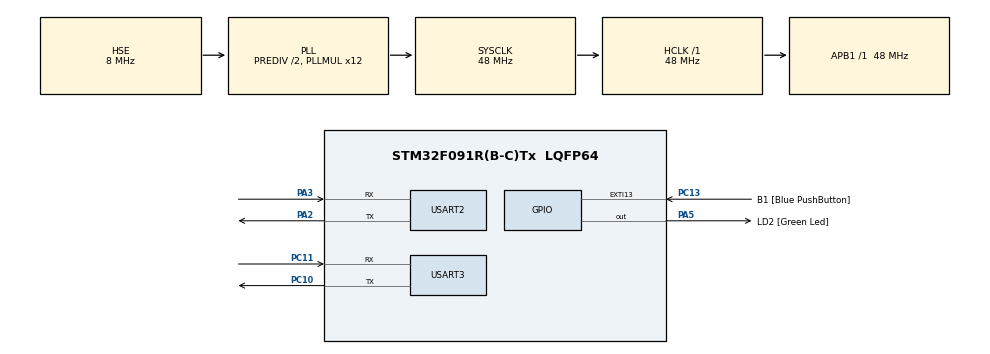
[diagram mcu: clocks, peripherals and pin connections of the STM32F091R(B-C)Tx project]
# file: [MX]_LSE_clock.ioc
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Mcu.Family=STM32F0
Mcu.Name=STM32F091R(B-C)Tx
Mcu.Package=LQFP64
NVIC.USART3_8_IRQn=true\:0\:0\:false\:false\:true\:true\:true\:true
PA13.GPIO_Label=TMS
PA13.Mode=Serial_Wire
PA13.Signal=SYS_SWDIO
PA14.GPIO_Label=TCK
PA14.Mode=Serial_Wire
PA14.Signal=SYS_SWCLK
PA2.GPIO_Mode=GPIO_MODE_AF_PP
PA2.GPIO_ModeDefaultPP=GPIO_MODE_AF_PP
PA2.GPIO_PuPd=GPIO_NOPULL
PA2.GPIO_Speed=GPIO_SPEED_FREQ_HIGH
PA2.Mode=Asynchronous
PA2.Signal=USART2_TX
PA3.GPIO_Mode=GPIO_MODE_AF_PP
PA3.GPIO_ModeDefaultPP=GPIO_MODE_AF_PP
PA3.GPIO_PuPd=GPIO_NOPULL
PA3.GPIO_Speed=GPIO_SPEED_FREQ_HIGH
PA3.Mode=Asynchronous
PA3.Signal=USART2_RX
PA5.GPIO_Label=LD2 [Green Led]
PA5.GPIO_Mode=GPIO_MODE_OUTPUT_PP
PA5.GPIO_PuPd=GPIO_NOPULL
PA5.GPIO_Speed=GPIO_SPEED_FREQ_LOW
PA5.Signal=GPIO_Output
PC10.Mode=Asynchronous
PC10.Signal=USART3_TX
PC11.Mode=Asynchronous
PC11.Signal=USART3_RX
PC13.GPIO_Label=B1 [Blue PushButton]
PC13.GPIO_ModeDefaultEXTI=GPIO_MODE_IT_FALLING
PC13.Signal=GPXTI13
PC14OSC32_IN.Mode=LSE-External-Oscillator
PC14OSC32_IN.Signal=RCC_OSC32_IN
PC15OSC32_OUT.Mode=LSE-External-Oscillator
PC15OSC32_OUT.Signal=RCC_OSC32_OUT
PF0-OSC_IN.Mode=HSE-External-Clock-Source
PF0-OSC_IN.Signal=RCC_OSC_IN
PF1-OSC_OUT.Signal=RCC_OSC_OUT
ProjectManager.HeapSize=0x200
ProjectManager.StackSize=0x400
ProjectManager.TargetToolchain=STM32CubeIDE
RCC.AHBFreq_Value=48000000
RCC.APB1Freq_Value=48000000
RCC.APB1TimFreq_Value=48000000
RCC.FLatency-AdvancedSettings=FLASH_LATENCY_1
RCC.HCLKFreq_Value=48000000
RCC.PLLDivider=RCC_PREDIV_DIV2
RCC.PLLMUL=RCC_PLL_MUL12
RCC.PLLSourceVirtual=RCC_PLLSOURCE_HSE
RCC.PREFETCH_ENABLE-AdvancedSettings=1
RCC.SYSCLKFreq_VALUE=48000000
RCC.SYSCLKSource=RCC_SYSCLKSOURCE_PLLCLK
USART2.VirtualMode-Asynchronous=VM_ASYNC
USART3.OneBitSampling=UART_ONE_BIT_SAMPLE_DISABLE
USART3.VirtualMode-Asynchronous=VM_ASYNC
board=NUCLEO-F091RC

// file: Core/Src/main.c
/* USER CODE BEGIN Header */
/**
  ******************************************************************************
  * @file           : main.c
  * @brief          : Main program body
  ******************************************************************************
  * @attention
  *
  * Copyright (c) 2023 STMicroelectronics.
  * All rights reserved.
  *
  * This software is licensed under terms that can be found in the LICENSE file
  * in the root directory of this software component.
  * If no LICENSE file comes with this software, it is provided AS-IS.
  *
  ******************************************************************************
  */
/* USER CODE END Header */
#include "main.h"
#include "usart.h"
#include "gpio.h"

/* USER CODE BEGIN Includes */
#include <stdio.h>
/* USER CODE END Includes */

/* USER CODE BEGIN PM */
#if 0
#ifdef __GNUC__
    #define PUTCHAR_PROTOTYPE int __io_putchar(int ch)
#else
    #define PUTCHAR_PROTOTYPE int fputc(int ch, FILE *f)
#endif

PUTCHAR_PROTOTYPE
{
  HAL_UART_Transmit(&huart3, (uint8_t *)&ch, 1, 0xFFFF);
  return ch;
}
#else
int __io_putchar(int ch)
{
	HAL_UART_Transmit(&huart3, (uint8_t *)&ch, 1, 1);
	return ch;
}
#endif
/* USER CODE END PM */

void SystemClock_Config(void);

/* USER CODE BEGIN 0 */

uint8_t temp = 77;
/* USER CODE END 0 */

int main(void)
{

  /* MCU Configuration--------------------------------------------------------*/

  /* Reset of all peripherals, Initializes the Flash interface and the Systick. */
  HAL_Init();

  /* Configure the system clock */
  SystemClock_Config();

  /* Initialize all configured peripherals */
  MX_GPIO_Init();
  MX_USART2_UART_Init();
  MX_USART3_UART_Init();
  /* USER CODE BEGIN 2 */
//  HAL_UART_Transmit(&huart3, (uint8_t *)&temp, 1, 0xFFFF);
//  printf("Hello MX LSE clock \r\n");
  /* USER CODE END 2 */

  /* Infinite loop */
  /* USER CODE BEGIN WHILE */
  HAL_GPIO_WritePin(GPIOA, GPIO_PIN_5, GPIO_PIN_SET);
  while (1)
  {
    /* USER CODE END WHILE */

  }
}

void SystemClock_Config(void)
{
  RCC_OscInitTypeDef RCC_OscInitStruct = {0};
  RCC_ClkInitTypeDef RCC_ClkInitStruct = {0};
  RCC_PeriphCLKInitTypeDef PeriphClkInit = {0};

  /** Initializes the RCC Oscillators according to the specified parameters
  * in the RCC_OscInitTypeDef structure.
  */
  RCC_OscInitStruct.OscillatorType = RCC_OSCILLATORTYPE_HSE;
  RCC_OscInitStruct.HSEState = RCC_HSE_BYPASS;
  RCC_OscInitStruct.PLL.PLLState = RCC_PLL_ON;
  RCC_OscInitStruct.PLL.PLLSource = RCC_PLLSOURCE_HSE;
  RCC_OscInitStruct.PLL.PLLMUL = RCC_PLL_MUL12;
  RCC_OscInitStruct.PLL.PREDIV = RCC_PREDIV_DIV2;
  if (HAL_RCC_OscConfig(&RCC_OscInitStruct) != HAL_OK)
  {
    Error_Handler();
  }

  /** Initializes the CPU, AHB and APB buses clocks
  */
  RCC_ClkInitStruct.ClockType = RCC_CLOCKTYPE_HCLK|RCC_CLOCKTYPE_SYSCLK
                              |RCC_CLOCKTYPE_PCLK1;
  RCC_ClkInitStruct.SYSCLKSource = RCC_SYSCLKSOURCE_PLLCLK;
  RCC_ClkInitStruct.AHBCLKDivider = RCC_SYSCLK_DIV1;
  RCC_ClkInitStruct.APB1CLKDivider = RCC_HCLK_DIV1;

  if (HAL_RCC_ClockConfig(&RCC_ClkInitStruct, FLASH_LATENCY_1) != HAL_OK)
  {
    Error_Handler();
  }
  PeriphClkInit.PeriphClockSelection = RCC_PERIPHCLK_USART3|RCC_PERIPHCLK_USART2;
  PeriphClkInit.Usart2ClockSelection = RCC_USART2CLKSOURCE_PCLK1;
  PeriphClkInit.Usart3ClockSelection = RCC_USART3CLKSOURCE_PCLK1;
  if (HAL_RCCEx_PeriphCLKConfig(&PeriphClkInit) != HAL_OK)
  {
    Error_Handler();
  }
}

void Error_Handler(void)
{
  __disable_irq();
  while (1)
  {
  }
}
